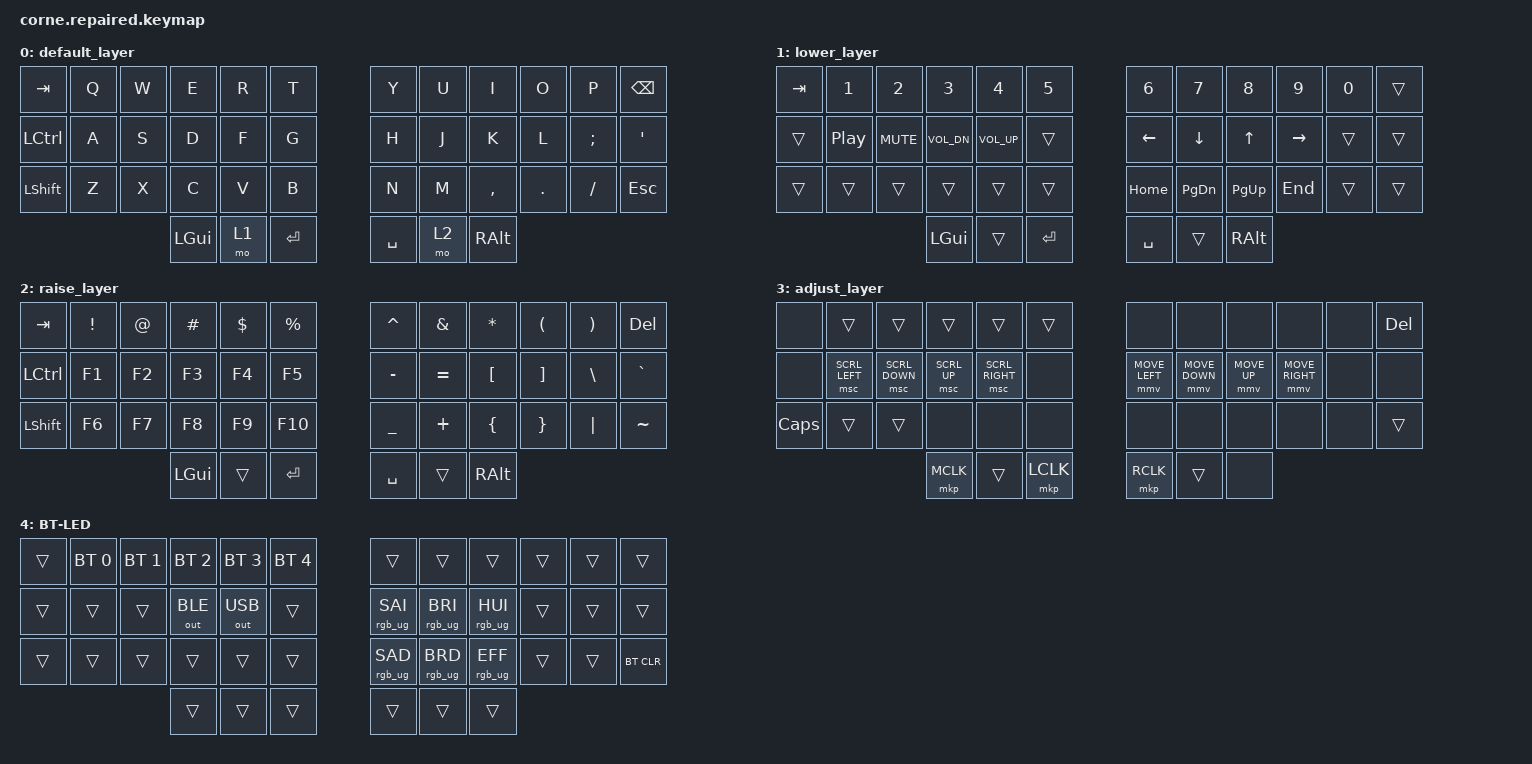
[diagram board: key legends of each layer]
/*
 * PandaKB Corne V3 MX starter keymap
 * Based on the owner's known-good Corne layout.
 * SPDX-License-Identifier: MIT
 */

#include <behaviors.dtsi>
#include <dt-bindings/zmk/keys.h>
#include <dt-bindings/zmk/bt.h>
#include <dt-bindings/zmk/ext_power.h>
#include <dt-bindings/zmk/rgb.h>
#include <dt-bindings/zmk/pointing.h>
#include <dt-bindings/zmk/outputs.h>

/* PandaKB QMK definition identifies 54 LEDs split 27/27.
 * ZMK chain-length is specified per half on a split keyboard.
 */
&led_strip {
    chain-length = <27>;
};

/ {
    conditional_layers {
    compatible = "zmk,conditional-layers";

        adjust_layer {
            if-layers = <1 2>;
            then-layer = <3>;
        };
    };

    combos {
        compatible = "zmk,combos";

        L_Paren {
            timeout-ms = <50>;
            key-positions = <4 5>;
            layers = <0>;
            bindings = <&kp LPAR>;
        };

        R_Paren {
            timeout-ms = <50>;
            key-positions = <6 7>;
            layers = <0>;
            bindings = <&kp RPAR>;
        };

        L_Bracket {
            timeout-ms = <50>;
            key-positions = <16 17>;
            layers = <0>;
            bindings = <&kp LBKT>;
        };

        R_Bracket {
            timeout-ms = <50>;
            key-positions = <18 19>;
            layers = <0>;
            bindings = <&kp RBKT>;
        };

        L_Brace {
            timeout-ms = <50>;
            key-positions = <28 29>;
            layers = <0>;
            bindings = <&kp LBRC>;
        };

        R_Brace {
            timeout-ms = <50>;
            key-positions = <30 31>;
            layers = <0>;
            bindings = <&kp RBRC>;
        };

        Pipe {
            timeout-ms = <50>;
            key-positions = <34 35>;
            layers = <0>;
            bindings = <&kp PIPE>;
        };

        Backslash {
            timeout-ms = <50>;
            key-positions = <33 34>;
            layers = <0>;
            bindings = <&kp BSLH>;
        };

        BT-LED {
            timeout-ms = <50>;
            key-positions = <36 37>;
            layers = <0>;
            bindings = <&mo 4>;
            slow-release;
        };
    };

    keymap {
        compatible = "zmk,keymap";

        default_layer {
// -----------------------------------------------------------------------------------------
// |  TAB |  Q  |  W  |  E  |  R  |  T  |   |  Y  |  U   |  I  |  O  |  P  | BSPC |
// | CTRL |  A  |  S  |  D  |  F  |  G  |   |  H  |  J   |  K  |  L  |  ;  |  '   |
// | SHFT |  Z  |  X  |  C  |  V  |  B  |   |  N  |  M   |  ,  |  .  |  /  | ESC  |
//                    | GUI | LWR | ENT |   | SPC | RSE | ALT |
            bindings = <
   &kp TAB   &kp Q &kp W &kp E &kp R &kp T   &kp Y &kp U &kp I     &kp O   &kp P    &kp BSPC
   &kp LCTRL &kp A &kp S &kp D &kp F &kp G   &kp H &kp J &kp K     &kp L   &kp SEMI &kp SQT
   &kp LSHFT &kp Z &kp X &kp C &kp V &kp B   &kp N &kp M &kp COMMA &kp DOT &kp FSLH &kp ESC
                   &kp LGUI &mo 1 &kp RET      &kp SPACE &mo 2 &kp RALT
            >;
        };

        lower_layer {
            // -------------------------------------------------------------------------------------------------------
            // |  TAB   |   1    |   2    |   3    |   4    |   5    |   |   6    |   7    |   8    |   9    |   0    |        |
            // |        |  PLAY  |  MUTE  |  VOLD  |  VOLU  |        |   |  LFT   |  DWN   |   UP   |  RGT   |        |        |
            // |        |        |        |        |        |        |   |  HOME  |  PGDN  |  PGUP  |  END   |        |        |
            //                            |  GUI   |        |  ENT   |   |  SPC   |        |  ALT   |
            bindings = <
                &kp TAB  &kp N1  &kp N2  &kp N3  &kp N4  &kp N5  &kp N6  &kp N7  &kp N8  &kp N9  &kp N0  &trans
                &trans  &kp C_PLAY_PAUSE  &kp C_MUTE  &kp C_VOL_DN  &kp C_VOL_UP  &trans  &kp LEFT  &kp DOWN  &kp UP  &kp RIGHT  &trans  &trans
                &trans  &trans  &trans  &trans  &trans  &trans  &kp HOME  &kp PG_DN  &kp PG_UP  &kp END  &trans  &trans
                &kp LGUI  &trans  &kp RET  &kp SPACE  &trans  &kp RALT
            >;
        };

        raise_layer {
// -----------------------------------------------------------------------------------------
// | TAB  |  !  |  @  |  #  |  $  |  %  |   |  ^  |  &  |  *  |  (  |  )  | DEL  |
// | CTRL | F1  | F2  | F3  | F4  | F5  |   |  -  |  =  |  [  |  ]  |  \  |  `   |
// | SHFT | F6  | F7  | F8  | F9  | F10 |   |  _  |  +  |  {  |  }  |  |  |  ~   |
//                    | GUI |     | ENT |   | SPC |     | ALT |
            bindings = <
   &kp TAB   &kp EXCL &kp AT &kp HASH &kp DLLR &kp PRCNT   &kp CARET &kp AMPS  &kp ASTRK &kp LPAR &kp RPAR &kp DEL
   &kp LCTRL &kp F1   &kp F2 &kp F3   &kp F4   &kp F5      &kp MINUS &kp EQUAL &kp LBKT  &kp RBKT &kp BSLH &kp GRAVE
   &kp LSHFT &kp F6   &kp F7 &kp F8   &kp F9   &kp F10     &kp UNDER &kp PLUS  &kp LBRC  &kp RBRC &kp PIPE &kp TILDE
                              &kp LGUI &trans &kp RET         &kp SPACE &trans &kp RALT
            >;
        };

        adjust_layer {

            // -------------------------------------------------------------------------------------------------------
            // |        |        |        |        |        |        |   |        |        |        |        |        |  DEL   |
            // |        |  SCL   |  SCD   |  SCU   |  SCR   |        |   |  MOUL  |  MOUD  |  MOUU  |  MOUR  |        |        |
            // |  CAPS  |        |        |        |        |        |   |        |        |        |        |        |        |
            //                            |  MCLK  |        |  LCLK  |   |  RCLK  |        |        |

            bindings = <
                &none  &trans  &trans  &trans  &trans  &trans  &none  &none  &none  &none  &none  &kp DEL
                &none  &msc SCRL_LEFT  &msc SCRL_DOWN  &msc SCRL_UP  &msc SCRL_RIGHT  &none  &mmv MOVE_LEFT  &mmv MOVE_DOWN  &mmv MOVE_UP  &mmv MOVE_RIGHT  &none  &none
                &kp CAPS  &trans  &trans  &none  &none  &none  &none  &none  &none  &none  &none  &trans
                &mkp MCLK  &trans  &mkp LCLK  &mkp RCLK  &trans  &none
            >;
        };

        BT-LED {
            // -------------------------------------------------------------------------------------------------------
            // |        |  BT0   |  BT1   |  BT2   |  BT3   |  BT4   |   |        |        |        |        |        |        |
            // |        |        |        |  BLE   |  USB   |        |   |  SAI   |  BRI   |  HUI   |        |        |        |
            // |        |        |        |        |        |        |   |  SAD   |  BRD   |  EFF   |        |        | BTCLR  |
            //                            |        |        |        |   |        |        |        |
            bindings = <
                &trans  &bt BT_SEL 0  &bt BT_SEL 1  &bt BT_SEL 2  &bt BT_SEL 3  &bt BT_SEL 4  &trans  &trans  &trans  &trans  &trans  &trans
                &trans  &trans  &trans  &out OUT_BLE  &out OUT_USB  &trans  &rgb_ug RGB_SAI  &rgb_ug RGB_BRI  &rgb_ug RGB_HUI  &trans  &trans  &trans
                &trans  &trans  &trans  &trans  &trans  &trans  &rgb_ug RGB_SAD  &rgb_ug RGB_BRD  &rgb_ug RGB_EFF  &trans  &trans  &bt BT_CLR
                &trans  &trans  &trans  &trans  &trans  &trans
            >;
        };
    };
};
